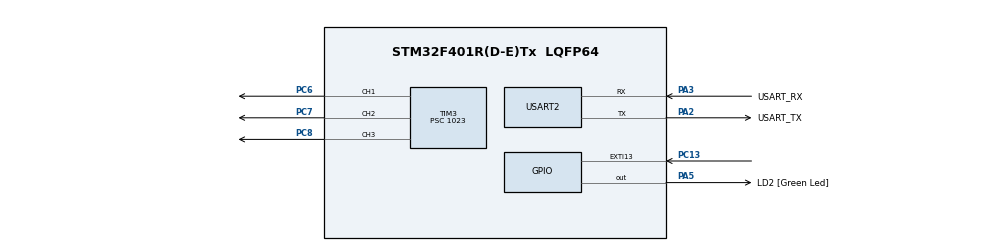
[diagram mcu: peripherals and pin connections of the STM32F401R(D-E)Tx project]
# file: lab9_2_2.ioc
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Mcu.Family=STM32F4
Mcu.Name=STM32F401R(D-E)Tx
Mcu.Package=LQFP64
NVIC.EXTI15_10_IRQn=true\:0\:0\:false\:false\:true\:true\:true
NVIC.PriorityGroup=NVIC_PRIORITYGROUP_0
NVIC.TIM3_IRQn=true\:0\:0\:false\:false\:true\:true\:true
PA13.GPIO_Label=TMS
PA13.Mode=Serial_Wire
PA13.Signal=SYS_JTMS-SWDIO
PA14.GPIO_Label=TCK
PA14.Mode=Serial_Wire
PA14.Signal=SYS_JTCK-SWCLK
PA2.GPIO_Label=USART_TX
PA2.GPIO_Mode=GPIO_MODE_AF_PP
PA2.GPIO_PuPd=GPIO_NOPULL
PA2.GPIO_Speed=GPIO_SPEED_FREQ_LOW
PA2.Mode=Asynchronous
PA2.Signal=USART2_TX
PA3.GPIO_Label=USART_RX
PA3.GPIO_Mode=GPIO_MODE_AF_PP
PA3.GPIO_PuPd=GPIO_NOPULL
PA3.GPIO_Speed=GPIO_SPEED_FREQ_LOW
PA3.Mode=Asynchronous
PA3.Signal=USART2_RX
PA5.GPIO_Label=LD2 [Green Led]
PA5.GPIO_Mode=GPIO_MODE_OUTPUT_PP
PA5.GPIO_PuPd=GPIO_NOPULL
PA5.GPIO_Speed=GPIO_SPEED_FREQ_LOW
PA5.Signal=GPIO_Output
PB3.GPIO_Label=SWO
PB3.Signal=SYS_JTDO-SWO
PC13-ANTI_TAMP.GPIO_ModeDefaultEXTI=GPIO_MODE_IT_FALLING
PC13-ANTI_TAMP.Signal=GPXTI13
PC14-OSC32_IN.Mode=LSE-External-Oscillator
PC14-OSC32_IN.Signal=RCC_OSC32_IN
PC15-OSC32_OUT.Mode=LSE-External-Oscillator
PC15-OSC32_OUT.Signal=RCC_OSC32_OUT
PC6.Signal=S_TIM3_CH1
PC7.Signal=S_TIM3_CH2
PC8.Signal=S_TIM3_CH3
PH0\ -\ OSC_IN.Mode=HSE-External-Clock-Source
PH0\ -\ OSC_IN.Signal=RCC_OSC_IN
PH1\ -\ OSC_OUT.Mode=HSE-External-Clock-Source
PH1\ -\ OSC_OUT.Signal=RCC_OSC_OUT
ProjectManager.HeapSize=0x200
ProjectManager.StackSize=0x400
ProjectManager.TargetToolchain=STM32CubeIDE
RCC.48MHZClocksFreq_Value=48000000
RCC.AHBFreq_Value=84000000
RCC.APB1CLKDivider=RCC_HCLK_DIV2
RCC.APB1Freq_Value=42000000
RCC.APB1TimFreq_Value=84000000
RCC.APB2Freq_Value=84000000
RCC.APB2TimFreq_Value=84000000
RCC.CortexFreq_Value=84000000
RCC.HCLKFreq_Value=84000000
RCC.HSE_VALUE=8000000
RCC.HSI_VALUE=16000000
RCC.PLLN=336
RCC.PLLP=RCC_PLLP_DIV4
RCC.PLLQ=7
RCC.SYSCLKFreq_VALUE=84000000
RCC.SYSCLKSource=RCC_SYSCLKSOURCE_PLLCLK
RCC.VCOOutputFreq_Value=336000000
SH.S_TIM3_CH1.0=TIM3_CH1,Output Compare1 CH1
SH.S_TIM3_CH2.0=TIM3_CH2,Output Compare2 CH2
SH.S_TIM3_CH3.0=TIM3_CH3,Output Compare3 CH3
TIM3.Channel-Output\ Compare1\ CH1=TIM_CHANNEL_1
TIM3.Channel-Output\ Compare2\ CH2=TIM_CHANNEL_2
TIM3.Channel-Output\ Compare3\ CH3=TIM_CHANNEL_3
TIM3.OCMode_1=TIM_OCMODE_TOGGLE
TIM3.OCMode_2=TIM_OCMODE_TOGGLE
TIM3.OCMode_3=TIM_OCMODE_TOGGLE
TIM3.Prescaler=1023
USART2.VirtualMode=VM_ASYNC
VP_TIM3_VS_ClockSourceINT.Mode=Internal
board=NUCLEO-F401RE

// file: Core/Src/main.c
/* USER CODE BEGIN Header */
/**
  ******************************************************************************
  * @file           : main.c
  * @brief          : Main program body
  ******************************************************************************
  * @attention
  *
  * Copyright (c) 2023 STMicroelectronics.
  * All rights reserved.
  *
  * This software is licensed under terms that can be found in the LICENSE file
  * in the root directory of this software component.
  * If no LICENSE file comes with this software, it is provided AS-IS.
  *
  ******************************************************************************
  */
/* USER CODE END Header */
#include "main.h"

/* USER CODE BEGIN PD */

#define fclk (84e6/1024) // prescaler set to 1023 + 1
#define f1 1000.0
#define f2 500.0
#define f3 250.0

#define DIOR DIER

/* USER CODE END PD */

void SystemClock_Config(void);
static void MX_GPIO_Init(void);
static void MX_USART2_UART_Init(void);
static void MX_TIM3_Init(void);

/* USER CODE BEGIN 0 */

int val1 = (fclk / (2*f1));
int val2 = (fclk / (2*f2));
int val3 = (fclk / (2*f3));

/* USER CODE END 0 */

int main(void)
{

  /* MCU Configuration--------------------------------------------------------*/

  /* Reset of all peripherals, Initializes the Flash interface and the Systick. */

  LL_APB2_GRP1_EnableClock(LL_APB2_GRP1_PERIPH_SYSCFG);
  LL_APB1_GRP1_EnableClock(LL_APB1_GRP1_PERIPH_PWR);

  NVIC_SetPriorityGrouping(NVIC_PRIORITYGROUP_0);

  /* System interrupt init*/

  /* Configure the system clock */
  SystemClock_Config();

  /* Initialize all configured peripherals */
  MX_GPIO_Init();
  MX_USART2_UART_Init();
  MX_TIM3_Init();

  /* Infinite loop */
  /* USER CODE BEGIN WHILE */

  LL_TIM_WriteReg(TIM3, CCR1, val1);  // set initial threshold CH1
  LL_TIM_WriteReg(TIM3, CCR2, val2);  // set initial threshold CH2
  LL_TIM_WriteReg(TIM3, CCR3, val3);  // set initial threshold CH3

  LL_TIM_WriteReg(TIM3, SR, LL_TIM_ReadReg(TIM3, SR) & ~(1 << 1));   // delete OC flag CH1
  LL_TIM_WriteReg(TIM3, SR, LL_TIM_ReadReg(TIM3, SR) & ~(1 << 2));   // delete OC flag CH2
  LL_TIM_WriteReg(TIM3, SR, LL_TIM_ReadReg(TIM3, SR) & ~(1 << 3));   // delete OC flag CH3

  LL_TIM_WriteReg(TIM3, CR1, LL_TIM_ReadReg(TIM3, CR1) | 0x1);  // counter enable

  LL_TIM_WriteReg(TIM3, DIOR, LL_TIM_ReadReg(TIM3, DIOR) | (1 << 1)); // enable interrupt on  CH1
  LL_TIM_WriteReg(TIM3, DIOR, LL_TIM_ReadReg(TIM3, DIOR) | (1 << 2)); // enable interrupt on  CH2
  LL_TIM_WriteReg(TIM3, DIOR, LL_TIM_ReadReg(TIM3, DIOR) | (1 << 3)); // enable interrupt on  CH3

  while (1)
  {
    /* USER CODE END WHILE */

  }
}

void SystemClock_Config(void)
{
  LL_FLASH_SetLatency(LL_FLASH_LATENCY_2);
  while(LL_FLASH_GetLatency()!= LL_FLASH_LATENCY_2)
  {
  }
  LL_PWR_SetRegulVoltageScaling(LL_PWR_REGU_VOLTAGE_SCALE2);
  LL_RCC_HSI_SetCalibTrimming(16);
  LL_RCC_HSI_Enable();

   /* Wait till HSI is ready */
  while(LL_RCC_HSI_IsReady() != 1)
  {

  }
  LL_RCC_PLL_ConfigDomain_SYS(LL_RCC_PLLSOURCE_HSI, LL_RCC_PLLM_DIV_16, 336, LL_RCC_PLLP_DIV_4);
  LL_RCC_PLL_Enable();

   /* Wait till PLL is ready */
  while(LL_RCC_PLL_IsReady() != 1)
  {

  }
  LL_RCC_SetAHBPrescaler(LL_RCC_SYSCLK_DIV_1);
  LL_RCC_SetAPB1Prescaler(LL_RCC_APB1_DIV_2);
  LL_RCC_SetAPB2Prescaler(LL_RCC_APB2_DIV_1);
  LL_RCC_SetSysClkSource(LL_RCC_SYS_CLKSOURCE_PLL);

   /* Wait till System clock is ready */
  while(LL_RCC_GetSysClkSource() != LL_RCC_SYS_CLKSOURCE_STATUS_PLL)
  {

  }
  LL_Init1msTick(84000000);
  LL_SetSystemCoreClock(84000000);
  LL_RCC_SetTIMPrescaler(LL_RCC_TIM_PRESCALER_TWICE);
}

static void MX_TIM3_Init(void)
{

  LL_TIM_InitTypeDef TIM_InitStruct = {0};
  LL_TIM_OC_InitTypeDef TIM_OC_InitStruct = {0};

  LL_GPIO_InitTypeDef GPIO_InitStruct = {0};

  /* Peripheral clock enable */
  LL_APB1_GRP1_EnableClock(LL_APB1_GRP1_PERIPH_TIM3);

  /* TIM3 interrupt Init */
  NVIC_SetPriority(TIM3_IRQn, NVIC_EncodePriority(NVIC_GetPriorityGrouping(),0, 0));
  NVIC_EnableIRQ(TIM3_IRQn);

  TIM_InitStruct.Prescaler = 1023;
  TIM_InitStruct.CounterMode = LL_TIM_COUNTERMODE_UP;
  TIM_InitStruct.Autoreload = 65535;
  TIM_InitStruct.ClockDivision = LL_TIM_CLOCKDIVISION_DIV1;
  LL_TIM_Init(TIM3, &TIM_InitStruct);
  LL_TIM_DisableARRPreload(TIM3);
  LL_TIM_SetClockSource(TIM3, LL_TIM_CLOCKSOURCE_INTERNAL);
  TIM_OC_InitStruct.OCMode = LL_TIM_OCMODE_TOGGLE;
  TIM_OC_InitStruct.OCState = LL_TIM_OCSTATE_ENABLE;
  TIM_OC_InitStruct.OCNState = LL_TIM_OCSTATE_DISABLE;
  TIM_OC_InitStruct.CompareValue = 0;
  TIM_OC_InitStruct.OCPolarity = LL_TIM_OCPOLARITY_HIGH;
  LL_TIM_OC_Init(TIM3, LL_TIM_CHANNEL_CH1, &TIM_OC_InitStruct);
  LL_TIM_OC_DisableFast(TIM3, LL_TIM_CHANNEL_CH1);
  LL_TIM_OC_Init(TIM3, LL_TIM_CHANNEL_CH2, &TIM_OC_InitStruct);
  LL_TIM_OC_DisableFast(TIM3, LL_TIM_CHANNEL_CH2);
  LL_TIM_OC_Init(TIM3, LL_TIM_CHANNEL_CH3, &TIM_OC_InitStruct);
  LL_TIM_OC_DisableFast(TIM3, LL_TIM_CHANNEL_CH3);
  LL_TIM_SetTriggerOutput(TIM3, LL_TIM_TRGO_RESET);
  LL_TIM_DisableMasterSlaveMode(TIM3);
  LL_AHB1_GRP1_EnableClock(LL_AHB1_GRP1_PERIPH_GPIOC);
  /**TIM3 GPIO Configuration
  PC6   ------> TIM3_CH1
  PC7   ------> TIM3_CH2
  PC8   ------> TIM3_CH3
  */
  GPIO_InitStruct.Pin = LL_GPIO_PIN_6|LL_GPIO_PIN_7|LL_GPIO_PIN_8;
  GPIO_InitStruct.Mode = LL_GPIO_MODE_ALTERNATE;
  GPIO_InitStruct.Speed = LL_GPIO_SPEED_FREQ_LOW;
  GPIO_InitStruct.OutputType = LL_GPIO_OUTPUT_PUSHPULL;
  GPIO_InitStruct.Pull = LL_GPIO_PULL_NO;
  GPIO_InitStruct.Alternate = LL_GPIO_AF_2;
  LL_GPIO_Init(GPIOC, &GPIO_InitStruct);

}

static void MX_USART2_UART_Init(void)
{

  LL_USART_InitTypeDef USART_InitStruct = {0};

  LL_GPIO_InitTypeDef GPIO_InitStruct = {0};

  /* Peripheral clock enable */
  LL_APB1_GRP1_EnableClock(LL_APB1_GRP1_PERIPH_USART2);

  LL_AHB1_GRP1_EnableClock(LL_AHB1_GRP1_PERIPH_GPIOA);
  /**USART2 GPIO Configuration
  PA2   ------> USART2_TX
  PA3   ------> USART2_RX
  */
  GPIO_InitStruct.Pin = USART_TX_Pin|USART_RX_Pin;
  GPIO_InitStruct.Mode = LL_GPIO_MODE_ALTERNATE;
  GPIO_InitStruct.Speed = LL_GPIO_SPEED_FREQ_LOW;
  GPIO_InitStruct.OutputType = LL_GPIO_OUTPUT_PUSHPULL;
  GPIO_InitStruct.Pull = LL_GPIO_PULL_NO;
  GPIO_InitStruct.Alternate = LL_GPIO_AF_7;
  LL_GPIO_Init(GPIOA, &GPIO_InitStruct);

  USART_InitStruct.BaudRate = 115200;
  USART_InitStruct.DataWidth = LL_USART_DATAWIDTH_8B;
  USART_InitStruct.StopBits = LL_USART_STOPBITS_1;
  USART_InitStruct.Parity = LL_USART_PARITY_NONE;
  USART_InitStruct.TransferDirection = LL_USART_DIRECTION_TX_RX;
  USART_InitStruct.HardwareFlowControl = LL_USART_HWCONTROL_NONE;
  USART_InitStruct.OverSampling = LL_USART_OVERSAMPLING_16;
  LL_USART_Init(USART2, &USART_InitStruct);
  LL_USART_ConfigAsyncMode(USART2);
  LL_USART_Enable(USART2);

}

static void MX_GPIO_Init(void)
{
  LL_EXTI_InitTypeDef EXTI_InitStruct = {0};
  LL_GPIO_InitTypeDef GPIO_InitStruct = {0};

  /* GPIO Ports Clock Enable */
  LL_AHB1_GRP1_EnableClock(LL_AHB1_GRP1_PERIPH_GPIOC);
  LL_AHB1_GRP1_EnableClock(LL_AHB1_GRP1_PERIPH_GPIOH);
  LL_AHB1_GRP1_EnableClock(LL_AHB1_GRP1_PERIPH_GPIOA);
  LL_AHB1_GRP1_EnableClock(LL_AHB1_GRP1_PERIPH_GPIOB);

  /**/
  LL_GPIO_ResetOutputPin(LD2_GPIO_Port, LD2_Pin);

  /**/
  LL_SYSCFG_SetEXTISource(LL_SYSCFG_EXTI_PORTC, LL_SYSCFG_EXTI_LINE13);

  /**/
  EXTI_InitStruct.Line_0_31 = LL_EXTI_LINE_13;
  EXTI_InitStruct.LineCommand = ENABLE;
  EXTI_InitStruct.Mode = LL_EXTI_MODE_IT;
  EXTI_InitStruct.Trigger = LL_EXTI_TRIGGER_RISING;
  LL_EXTI_Init(&EXTI_InitStruct);

  /**/
  LL_GPIO_SetPinPull(GPIOC, LL_GPIO_PIN_13, LL_GPIO_PULL_NO);

  /**/
  LL_GPIO_SetPinMode(GPIOC, LL_GPIO_PIN_13, LL_GPIO_MODE_INPUT);

  /**/
  GPIO_InitStruct.Pin = LD2_Pin;
  GPIO_InitStruct.Mode = LL_GPIO_MODE_OUTPUT;
  GPIO_InitStruct.Speed = LL_GPIO_SPEED_FREQ_LOW;
  GPIO_InitStruct.OutputType = LL_GPIO_OUTPUT_PUSHPULL;
  GPIO_InitStruct.Pull = LL_GPIO_PULL_NO;
  LL_GPIO_Init(LD2_GPIO_Port, &GPIO_InitStruct);

  /* EXTI interrupt init*/
  NVIC_SetPriority(EXTI15_10_IRQn, NVIC_EncodePriority(NVIC_GetPriorityGrouping(),0, 0));
  NVIC_EnableIRQ(EXTI15_10_IRQn);

}

void Error_Handler(void)
{
  __disable_irq();
  while (1)
  {
  }
}
